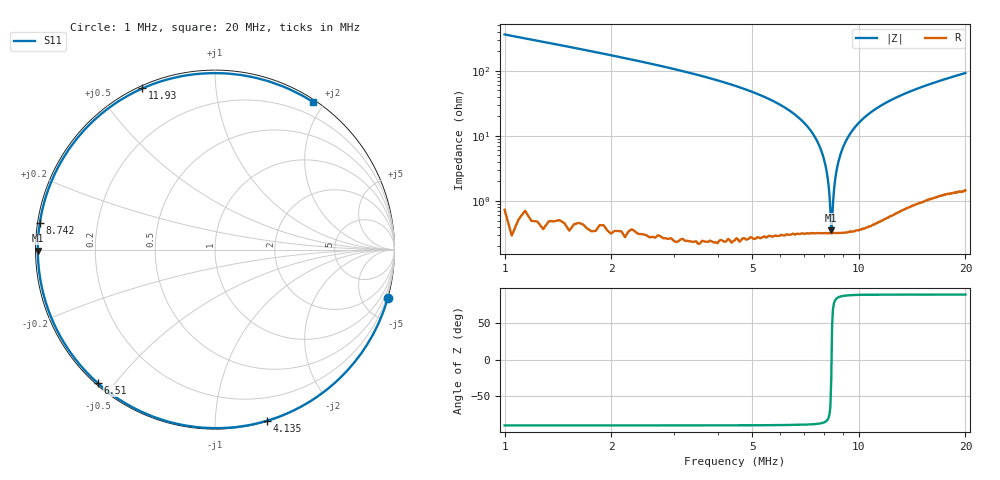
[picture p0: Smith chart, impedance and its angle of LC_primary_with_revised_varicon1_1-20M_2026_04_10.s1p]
# HZ S RI R 50
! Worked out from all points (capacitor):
!   401 points, 1 MHz to 20 MHz, reference 50 ohm
!   read as one part to ground: C = 431 pF near 1.095 MHz
!   lowest |Z| = 352 mohm at 8.363 MHz (marker M1)
!   series resonance near 8.376 MHz, so ESL is about 840 nH
!   S11 on the Smith chart (normalised r, x): 1 MHz: 0.01, -7.27; 4.135 MHz: 0.00, -1.35; 6.51 MHz: 0.01, -0.45; 8.742 MHz: 0.01, +0.08; 11.93 MHz: 0.01, +0.65; 20 MHz: 0.03, +1.86
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1000000  0.9623 -0.2699
1570000  0.9065 -0.4203
2187500  0.8154 -0.5771
2805000  0.6894 -0.7221
3375000  0.5402 -0.839
4135000  0.2922 -0.9528
4562500  0.1303 -0.987
4990000  -0.0431 -0.9934
5370000  -0.203 -0.9724
5750000  -0.3621 -0.9237
6130000  -0.5146 -0.847
6510000  -0.6539 -0.7428
6937500  -0.7874 -0.5978
7317500  -0.8798 -0.4497
7697500  -0.944 -0.2904
8125000  -0.9816 -0.1069
8362500  -0.9873 -0.00582
8742500  -0.9759 0.1496
9645000  -0.8692 0.4681
1.05e7  -0.7065 0.6888
1.12125e7  -0.5548 0.815
1.1925e7  -0.4041 0.8984
1.2875e7  -0.2181 0.9595
1.40625e7  -0.0185 0.9831
1.525e7  0.1451 0.9728
1.639e7  0.2723 0.9454
1.7625e7  0.3842 0.9066
2e7  0.5435 0.824
